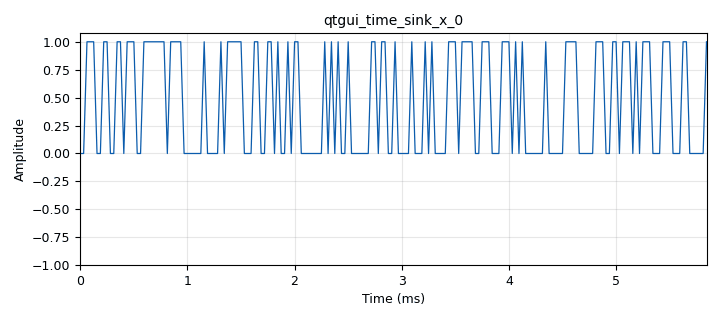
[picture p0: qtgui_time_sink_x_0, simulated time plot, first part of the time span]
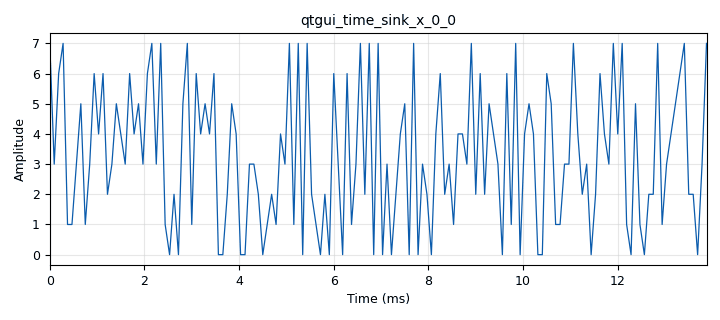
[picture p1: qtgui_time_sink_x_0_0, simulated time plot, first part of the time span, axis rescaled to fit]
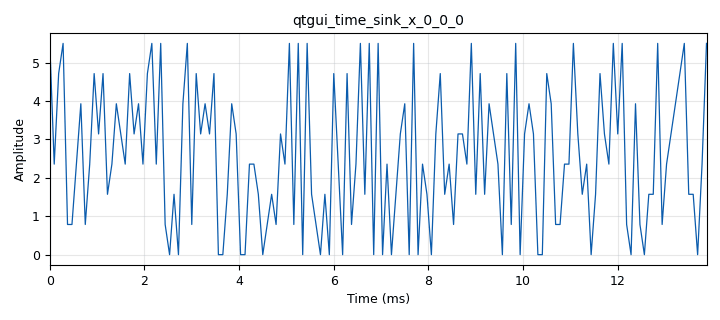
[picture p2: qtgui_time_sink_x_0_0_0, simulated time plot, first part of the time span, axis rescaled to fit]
options:
  parameters:
    generate_options: qt_gui
    id: P_4_Prueba1
    output_language: python
    title: Practica_4
  states: {}

blocks:
- name: M
  id: variable
  parameters:
    value: '8'
  states: {}
- name: Nbps
  id: variable
  parameters:
    value: int(math.log(M,2))
  states: {}
- name: Rb
  id: variable
  parameters:
    value: '32000'
  states: {}
- name: Rs
  id: variable
  parameters:
    value: Rb/Nbps
  states: {}
- name: analog_random_source_x_0
  id: analog_random_source_x
  parameters:
    max: '2'
    min: '0'
    num_samps: '1000'
    repeat: 'True'
    type: byte
  states: {}
- name: blocks_char_to_float_0
  id: blocks_char_to_float
  parameters:
    scale: '1'
  states: {}
- name: blocks_char_to_float_0_0
  id: blocks_char_to_float
  parameters:
    scale: '1'
  states: {}
- name: blocks_char_to_float_0_0_0
  id: blocks_char_to_float
  parameters:
    scale: '1'
  states: {}
- name: blocks_multiply_const_vxx_0
  id: blocks_multiply_const_vxx
  parameters:
    const: 2*math.pi/M
    type: float
  states: {}
- name: blocks_repack_bits_bb_0
  id: blocks_repack_bits_bb
  parameters:
    endianness: gr.GR_LSB_FIRST
    k: '1'
    l: Nbps
  states: {}
- name: import_0
  id: import
  parameters:
    imports: import math
  states: {}
- name: qtgui_time_sink_x_0
  id: qtgui_time_sink_x
  parameters:
    size: '1024'
    srate: Rb
    type: float
  states: {}
- name: qtgui_time_sink_x_0_0
  id: qtgui_time_sink_x
  parameters:
    size: '1024'
    srate: Rs
    type: float
  states: {}
- name: qtgui_time_sink_x_0_0_0
  id: qtgui_time_sink_x
  parameters:
    size: '1024'
    srate: Rs
    type: float
  states: {}

connections:
- [analog_random_source_x_0, '0', blocks_char_to_float_0, '0']
- [analog_random_source_x_0, '0', blocks_repack_bits_bb_0, '0']
- [blocks_char_to_float_0, '0', qtgui_time_sink_x_0, '0']
- [blocks_char_to_float_0_0, '0', qtgui_time_sink_x_0_0, '0']
- [blocks_char_to_float_0_0_0, '0', blocks_multiply_const_vxx_0, '0']
- [blocks_multiply_const_vxx_0, '0', qtgui_time_sink_x_0_0_0, '0']
- [blocks_repack_bits_bb_0, '0', blocks_char_to_float_0_0, '0']
- [blocks_repack_bits_bb_0, '0', blocks_char_to_float_0_0_0, '0']

metadata:
  file_format: 1
  grc_version: v3.10.11.0-89-ga17f69e7
